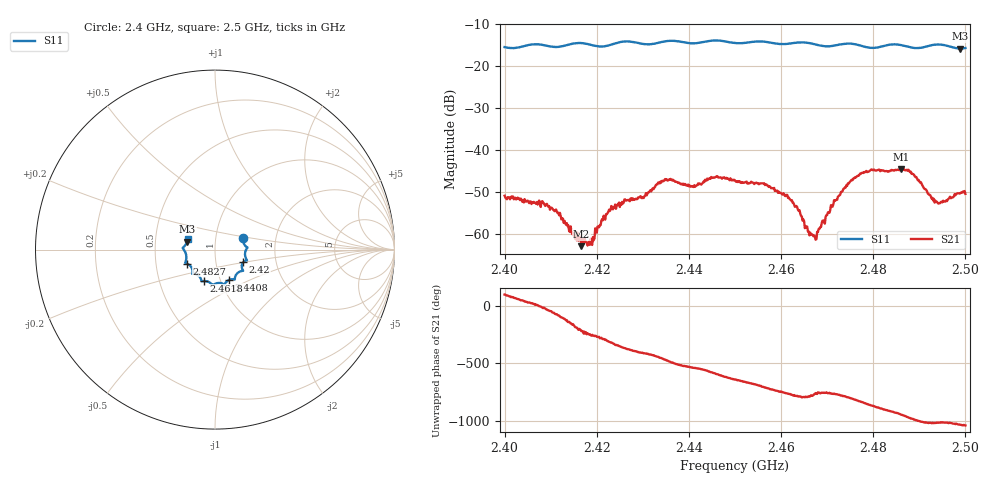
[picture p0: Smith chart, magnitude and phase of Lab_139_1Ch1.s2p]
# Hz S RI R 50
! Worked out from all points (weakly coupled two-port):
!   601 points, 2.4 GHz to 2.5 GHz, reference 50 ohm
!   highest |S21| = -44.54 dB at 2.486 GHz (marker M1); lowest = -62.9 dB at 2.4167 GHz (marker M2)
!   lowest |S11| = -15.8 dB at 2.4988 GHz (marker M3), VSWR 1.38, Z = 36.4 + j3.33 ohm
!   |S11| at or under -10 dB: start of sweep to end of sweep
!   S12 and S22 are empty: the file has one direction only
!   S11 on the Smith chart (normalised r, x): 2.4 GHz: 1.36, +0.17; 2.42 GHz: 1.36, -0.19; 2.4408 GHz: 1.10, -0.39; 2.4618 GHz: 0.84, -0.30; 2.4827 GHz: 0.72, -0.12; 2.5 GHz: 0.73, +0.09
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2.4e9  0.1561 0.0621  -0.000269 0.00283  0 0  0 0
2.408667e9  0.1765 0.00465  0.00204 -0.000883  0 0  0 0
2.416667e9  0.178 -0.0596  -0.000525 0.000481  0 0  0 0
2.4185e9  0.1692 -0.0619  -0.000261 0.000691  0 0  0 0
2.42e9  0.1577 -0.0693  3.01e-05 0.00103  0 0  0 0
2.4235e9  0.1503 -0.1034  0.00166 0.00103  0 0  0 0
2.433333e9  0.112 -0.1521  0.000284 -0.00407  0 0  0 0
2.440833e9  0.0787 -0.169  -0.0037 3.87e-05  0 0  0 0
2.445667e9  0.0521 -0.1947  -0.00304 0.00359  0 0  0 0
2.45e9  0.028 -0.1858  0.00099 0.0042  0 0  0 0
2.456333e9  -0.0155 -0.1944  0.00394 0.000677  0 0  0 0
2.461833e9  -0.0604 -0.175  0.00171 -0.00197  0 0  0 0
2.466667e9  -0.0769 -0.1685  0.00042 -0.000892  0 0  0 0
2.467833e9  -0.0801 -0.1596  0.000707 -0.000786  0 0  0 0
2.4755e9  -0.1266 -0.1332  2.55e-05 -0.00436  0 0  0 0
2.482667e9  -0.1573 -0.0779  -0.00555 0.000628  0 0  0 0
2.483333e9  -0.1614 -0.0764  -0.00541 0.00136  0 0  0 0
2.486e9  -0.1641 -0.0684  -0.00412 0.00427  0 0  0 0
2.488333e9  -0.1595 -0.0451  -0.00069 0.00514  0 0  0 0
2.493833e9  -0.1801 0.00773  0.00104 0.00217  0 0  0 0
2.498833e9  -0.1552 0.0444  0.00214 0.00213  0 0  0 0
2.5e9  -0.1517 0.0616  0.00235 0.00185  0 0  0 0
